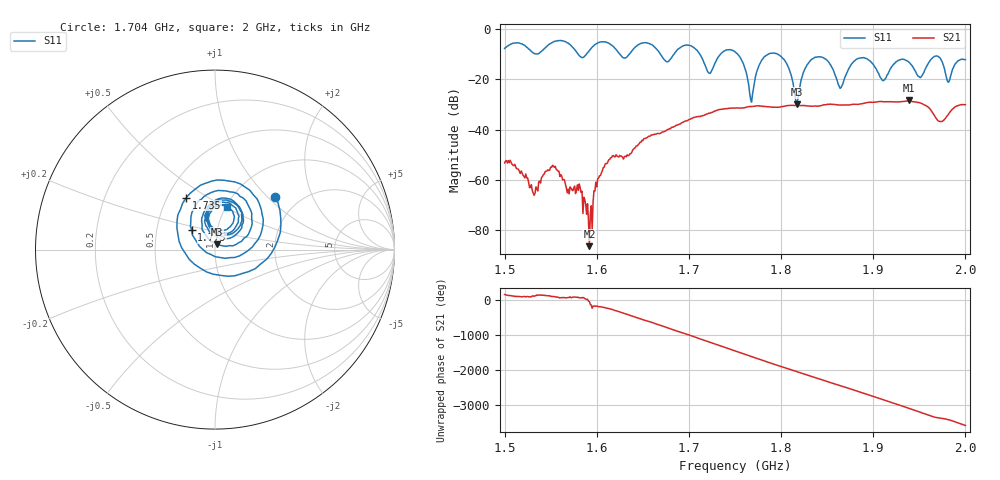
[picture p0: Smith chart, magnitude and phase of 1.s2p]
! NanoVNA-App by SYSJOINT et al v1.1.209 (+OD18)
! Date: 2026-01-21 14:41:38
! Start: 1,5GHz Stop: 2GHz Points: 501
! S-Parameter data: F S11 S21 S12 S22
# Hz S RI R 50
!  Frequency  S11_Real  S11_Imag  S21_Real  S21_Imag  S12_Real  S12_Imag  S22_Real  S22_Imag
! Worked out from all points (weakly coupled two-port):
!   501 points, 1.5 GHz to 2 GHz, reference 50 ohm
!   highest |S21| = -28.29 dB at 1.939 GHz (marker M1); lowest = -86.5 dB at 1.592 GHz (marker M2)
!   lowest |S11| = -30.0 dB at 1.817 GHz (marker M3), VSWR 1.07, Z = 50.9 + j3.08 ohm
!   |S11| at or under -10 dB: 1.712 GHz to 1.734 GHz (22.21 MHz wide, 1.29 % of centre); 1.753 GHz to 1.786 GHz (32.63 MHz wide, 1.84 % of centre); 1.797 GHz to end of sweep (the widest 3 of 6)
!   S12 and S22 are empty: the file has one direction only
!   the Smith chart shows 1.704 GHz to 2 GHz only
!   S11 on the Smith chart (normalised r, x): 1.704 GHz: 1.51, +1.11; 1.735 GHz: 0.62, +0.41; 1.775 GHz: 0.76, +0.17; 2 GHz: 1.02, +0.52
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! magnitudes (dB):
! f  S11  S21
! 1.5 GHz  -7.7  -53.3
! 1.553 GHz  -5.0  -54.5
! 1.584 GHz  -11.3  -64.6
! 1.592 GHz  -8.5  -86.5
! 1.615 GHz  -6.1  -51.2
! 1.667 GHz  -8.8  -41.6
! 1.704 GHz  -7.0  -35.4
! 1.722 GHz  -17.5  -33.4
! 1.735 GHz  -9.6  -31.9
! 1.75 GHz  -9.0  -31.5
! 1.767 GHz  -28.1  -30.9
! 1.775 GHz  -15.5  -30.6
! 1.799 GHz  -10.6  -31.0
! 1.817 GHz  -30.0  -30.4
! 1.834 GHz  -11.8  -30.7
! 1.864 GHz  -23.6  -30.3
! 1.884 GHz  -11.6  -30.0
! 1.917 GHz  -17.0  -28.9
! 1.939 GHz  -13.2  -28.3
! 1.97 GHz  -10.7  -36.4
! 1.982 GHz  -21.1  -33.6
! 2 GHz  -12.1  -30.1
